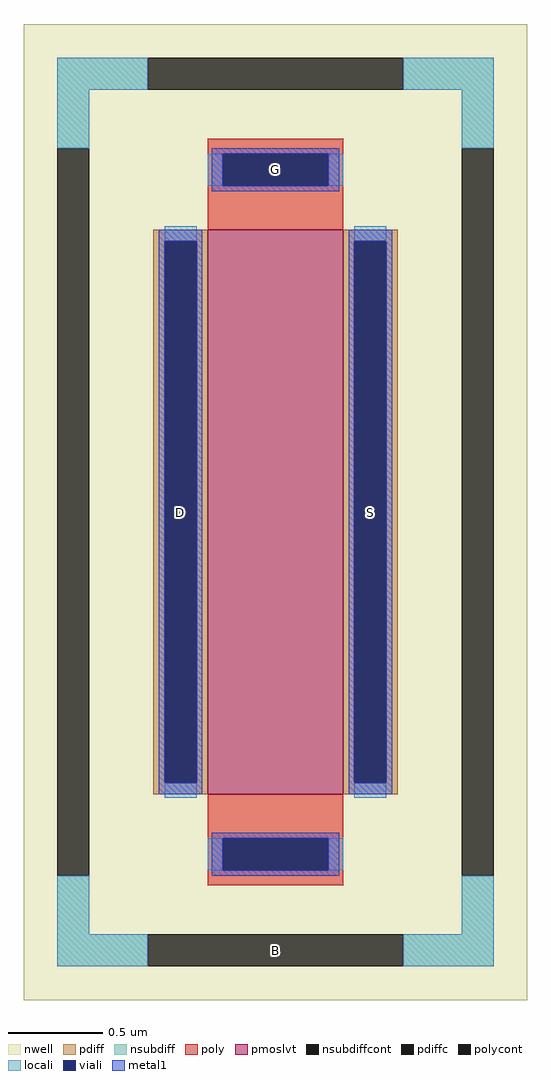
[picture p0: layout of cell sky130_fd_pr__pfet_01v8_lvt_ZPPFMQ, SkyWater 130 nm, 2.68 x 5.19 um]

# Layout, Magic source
magic
tech sky130A
magscale 1 2
<< nwell >>
rect -268 -519 268 519
<< pmoslvt >>
rect -72 -300 72 300
<< pdiff >>
rect -130 288 -72 300
rect -130 -288 -118 288
rect -84 -288 -72 288
rect -130 -300 -72 -288
rect 72 288 130 300
rect 72 -288 84 288
rect 118 -288 130 288
rect 72 -300 130 -288
<< pdiffc >>
rect -118 -288 -84 288
rect 84 -288 118 288
<< nsubdiff >>
rect -232 449 -136 483
rect 136 449 232 483
rect -232 387 -198 449
rect 198 387 232 449
rect -232 -449 -198 -387
rect 198 -449 232 -387
rect -232 -483 -136 -449
rect 136 -483 232 -449
<< nsubdiffcont >>
rect -136 449 136 483
rect -232 -387 -198 387
rect 198 -387 232 387
rect -136 -483 136 -449
<< poly >>
rect -72 381 72 397
rect -72 347 -56 381
rect 56 347 72 381
rect -72 300 72 347
rect -72 -347 72 -300
rect -72 -381 -56 -347
rect 56 -381 72 -347
rect -72 -397 72 -381
<< polycont >>
rect -56 347 56 381
rect -56 -381 56 -347
<< locali >>
rect -232 449 -136 483
rect 136 449 232 483
rect -232 387 -198 449
rect 198 387 232 449
rect -72 347 -56 381
rect 56 347 72 381
rect -118 288 -84 304
rect -118 -304 -84 -288
rect 84 288 118 304
rect 84 -304 118 -288
rect -72 -381 -56 -347
rect 56 -381 72 -347
rect -232 -449 -198 -387
rect 198 -449 232 -387
rect -232 -483 -136 -449
rect 136 -483 232 -449
<< viali >>
rect -56 347 56 381
rect -118 -288 -84 288
rect 84 -288 118 288
rect -56 -381 56 -347
<< metal1 >>
rect -68 381 68 387
rect -68 347 -56 381
rect 56 347 68 381
rect -68 341 68 347
rect -124 288 -78 300
rect -124 -288 -118 288
rect -84 -288 -78 288
rect -124 -300 -78 -288
rect 78 288 124 300
rect 78 -288 84 288
rect 118 -288 124 288
rect 78 -300 124 -288
rect -68 -347 68 -341
rect -68 -381 -56 -347
rect 56 -381 68 -347
rect -68 -387 68 -381
<< labels >>
rlabel nsubdiffcont 0 -466 0 -466 0 B
port 1 nsew
rlabel pdiffc -101 0 -101 0 0 D
port 2 nsew
rlabel pdiffc 101 0 101 0 0 S
port 3 nsew
rlabel polycont 0 364 0 364 0 G
port 4 nsew
<< properties >>
string FIXED_BBOX -215 -466 215 466
string gencell sky130_fd_pr__pfet_01v8_lvt
string library sky130
string parameters w 3 l 0.72 m 1 nf 1 diffcov 100 polycov 100 guard 1 glc 1 grc 1 gtc 1 gbc 1 tbcov 100 rlcov 100 topc 1 botc 1 poverlap 0 doverlap 1 lmin 0.35 wmin 0.42 class mosfet compatible {sky130_fd_pr__pfet_01v8  sky130_fd_pr__pfet_01v8_lvt sky130_fd_pr__pfet_01v8_hvt  sky130_fd_pr__pfet_g5v0d10v5} full_metal 1 conn_gates 0 viasrc 100 viadrn 100 viagate 100 viagb 0 viagr 0 viagl 0 viagt 0 doports 1
<< end >>
